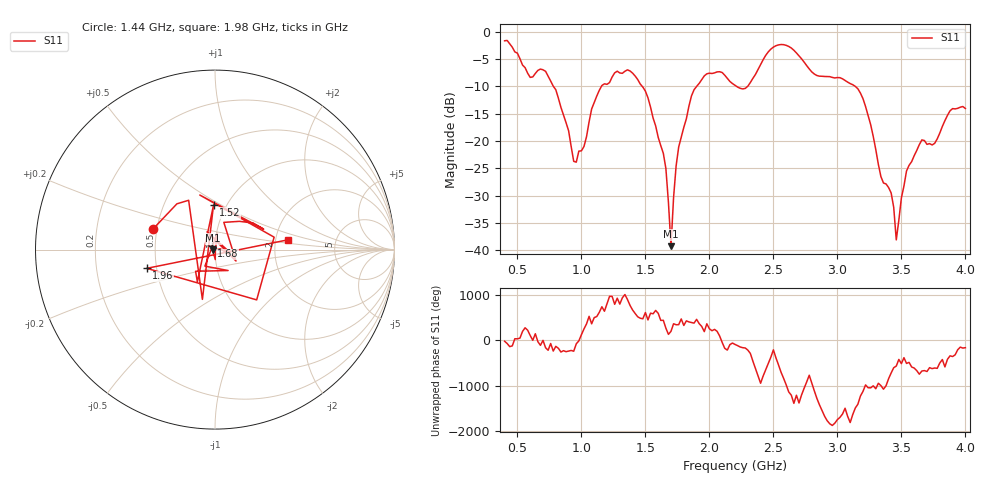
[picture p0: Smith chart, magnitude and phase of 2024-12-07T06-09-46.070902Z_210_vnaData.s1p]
!Created with skrf (http://scikit-rf.org).
# Hz S RI R 50.0
!freq ReS11 ImS11
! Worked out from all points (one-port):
!   181 points, 400 MHz to 4 GHz, reference 50 ohm
!   lowest |S11| = -39.3 dB at 1.7 GHz (marker M1), VSWR 1.02, Z = 49 - j0.417 ohm
!   |S11| at or under -10 dB: 781 MHz to 1.156 GHz (375.4 MHz wide, 38.8 % of centre); 1.475 GHz to 1.901 GHz (425.4 MHz wide, 25.2 % of centre); 3.139 GHz to end of sweep (the widest 3 of 4)
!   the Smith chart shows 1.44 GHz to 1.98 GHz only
!   S11 on the Smith chart (normalised r, x): 1.44 GHz: 0.47, +0.12; 1.52 GHz: 0.87, +0.46; 1.68 GHz: 0.96, +0.04; 1.96 GHz: 0.44, -0.11; 1.98 GHz: 2.35, +0.31
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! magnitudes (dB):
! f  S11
! 400 MHz  -1.7
! 600 MHz  -8.4
! 720 MHz  -7.2
! 860 MHz  -15.2
! 960 MHz  -23.9
! 1.14 GHz  -10.7
! 1.3 GHz  -7.5
! 1.44 GHz  -8.8
! 1.52 GHz  -12.1
! 1.64 GHz  -22.3
! 1.68 GHz  -31.3
! 1.7 GHz  -39.3
! 1.72 GHz  -30.4
! 1.76 GHz  -21.1
! 1.86 GHz  -11.8
! 1.96 GHz  -8.1
! 1.98 GHz  -7.7
! 2.2 GHz  -9.8
! 2.3 GHz  -10.0
! 2.5 GHz  -2.8
! 2.66 GHz  -3.4
! 3.1 GHz  -9.5
! 3.2 GHz  -12.3
! 3.34 GHz  -26.5
! 3.42 GHz  -29.5
! 3.46 GHz  -38.1
! 3.56 GHz  -24.5
! 4 GHz  -14.1
